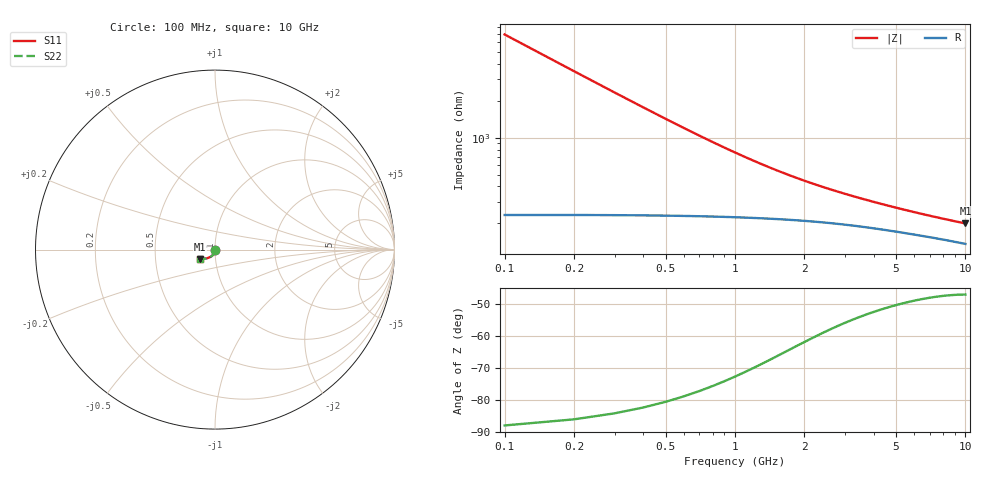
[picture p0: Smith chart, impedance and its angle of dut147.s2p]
! Touchstone file exported from HFSS 2024.1.0
!  File:  C:/UserFiles/LocalFiles/RDL_TSV_Batchsim/temp_TSV1_147_1778754831.aedt
!  Generated:  06:37:42 PM May 14, 2026
!  Design:  TSV1
!  Project:  temp_TSV1_147_1778754831
!  Setup:  Setup1
!  Solution:  Sweep
! Variables:
!  dtsv = 22.99um
!  hbump = 3um
!  htsv = 82.1um
!  lrdl = 252.1521522um
!  p = 40
!  p1 = 58.7um
!  t = 500um
!  trdl = 3um
!  wrdl = 24.89489489um
# GHz S MA R 50.000000
! Terminal data exported
! Port[1] = TSV22_T1
! Port[2] = TSV22_T2
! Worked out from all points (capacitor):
!   100 points, 100 MHz to 10 GHz, reference 50 ohm
!   read as one part in shunt: C = 228 fF near 100 MHz
!   lowest |Z| = 199 ohm at 10 GHz (marker M1)
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0.1  0.003259 -91.0  0.9998 -0.2  0.9998 -0.2  0.003259 -91.0
! Gamma 0 0 0 0
! Port Impedance 50 0 50 0
0.2  0.006498 -93.8  0.9994 -0.4  0.9994 -0.4  0.006498 -93.8
0.3  0.009702 -96.2  0.9988 -0.7  0.9988 -0.7  0.009702 -96.2
0.4  0.01285 -98.4  0.9979 -0.9  0.9979 -0.9  0.01285 -98.4
0.5  0.01594 -100.5  0.9968 -1.1  0.9968 -1.1  0.01594 -100.5
0.6  0.01893 -102.6  0.9956 -1.3  0.9956 -1.3  0.01893 -102.6
0.7  0.02184 -104.6  0.9942 -1.5  0.9942 -1.5  0.02184 -104.6
0.8  0.02464 -106.5  0.9928 -1.6  0.9928 -1.6  0.02464 -106.5
0.9  0.02733 -108.3  0.9912 -1.8  0.9912 -1.8  0.02733 -108.3
1.1  0.03238 -111.7  0.9879 -2.1  0.9879 -2.1  0.03238 -111.7
1.4  0.0391 -116.3  0.9828 -2.5  0.9828 -2.5  0.0391 -116.3
1.6  0.04305 -118.9  0.9794 -2.7  0.9794 -2.7  0.04305 -118.9
1.8  0.04663 -121.3  0.9761 -2.9  0.9761 -2.9  0.04663 -121.3
2.1  0.05138 -124.4  0.9715 -3.2  0.9715 -3.2  0.05138 -124.4
2.5  0.0568 -127.8  0.9659 -3.4  0.9659 -3.4  0.0568 -127.8
2.9  0.06142 -130.6  0.9609 -3.7  0.9609 -3.7  0.06142 -130.6
3.4  0.06637 -133.4  0.9554 -3.9  0.9554 -3.9  0.06637 -133.4
4.2  0.07294 -136.8  0.948 -4.3  0.948 -4.3  0.07294 -136.8
5.1  0.07898 -139.7  0.9412 -4.7  0.9412 -4.7  0.07898 -139.7
6.7  0.08733 -143.5  0.9316 -5.3  0.9316 -5.3  0.08733 -143.5
8.4  0.09396 -146.2  0.9241 -5.9  0.9241 -5.9  0.09396 -146.2
10  0.09883 -148.0  0.9187 -6.4  0.9187 -6.4  0.09883 -148.0
